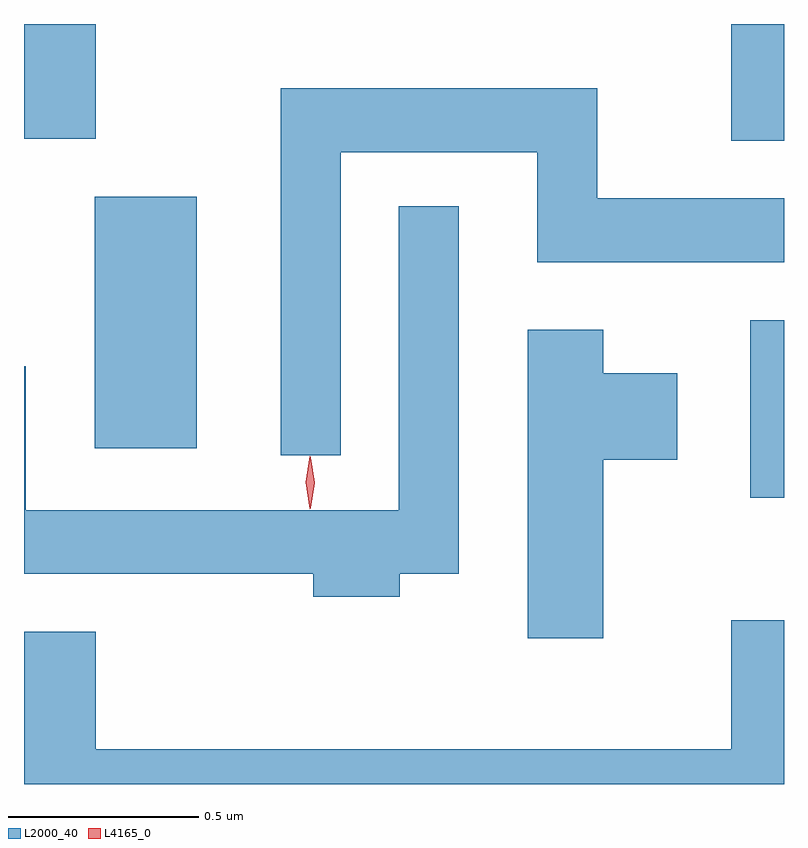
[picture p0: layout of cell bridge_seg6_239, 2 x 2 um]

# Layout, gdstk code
import gdstk
lib = gdstk.Library(unit=1e-6, precision=1e-09)
def R(c, l, rs):  # rectangles x0, y0, x1, y1
    for r in rs: c.add(gdstk.rectangle(r[:2], r[2:], *l))
def P(c, l, *ps):  # polygons
    for p in ps: c.add(gdstk.Polygon(p, *l))
L2000_40 = (2000, 40)
L4165_0 = (4165, 0)

bridge_seg6_239 = lib.new_cell('bridge_seg6_239')
R(bridge_seg6_239, L2000_40, [(1140.141,1548.746,1140.23,1549.214), (1138.416,1548.876,1138.684,1549.539), (1140.091,1549.686,1140.23,1549.993), (1138.23,1549.691,1138.419,1549.993)])
P(bridge_seg6_239, L2000_40, [(1139.064,1549.656),(1139.581,1549.656),(1139.581,1549.366),(1140.23,1549.366),(1140.23,1549.534),(1139.739,1549.534),(1139.739,1549.824),(1138.906,1549.824),(1138.906,1548.858),(1139.064,1548.858)],
  [(1139.219,1548.546),(1139.374,1548.546),(1139.374,1549.513),(1139.216,1549.513),(1139.216,1548.714),(1138.234,1548.714),(1138.234,1549.093),(1138.23,1549.093),(1138.23,1548.546),(1138.991,1548.546),(1138.991,1548.486),(1139.219,1548.486)],
  [(1139.754,1548.846),(1139.949,1548.846),(1139.949,1549.074),(1139.754,1549.074),(1139.754,1549.189),(1139.556,1549.189),(1139.556,1548.376),(1139.754,1548.376)],
  [(1140.23,1548.424),(1140.091,1548.424),(1140.091,1548.084),(1138.419,1548.084),(1138.419,1548.394),(1138.23,1548.394),(1138.23,1547.993),(1140.23,1547.993)])
P(bridge_seg6_239, L4165_0, [(1138.985,1548.719),(1138.984,1548.72),(1138.975,1548.786),(1138.984,1548.852),(1138.985,1548.853),(1138.985,1548.852),(1138.995,1548.786),(1138.985,1548.72)],
  [(1138.982,1548.717),(1138.982,1548.717),(1138.972,1548.787),(1138.982,1548.856),(1138.982,1548.856),(1138.983,1548.856),(1138.992,1548.787),(1138.983,1548.717)])

lib.write_gds('bridge_seg6_239.gds')
